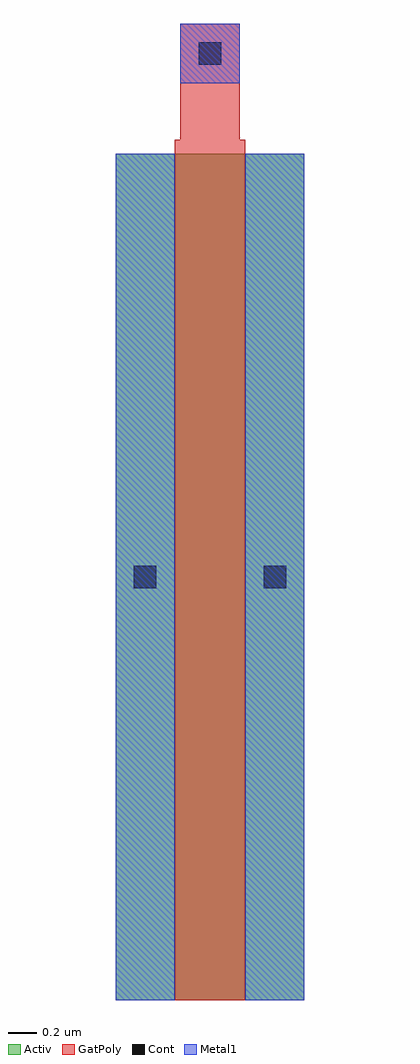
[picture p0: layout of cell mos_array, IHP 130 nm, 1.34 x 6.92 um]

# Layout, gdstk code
import gdstk
lib = gdstk.Library(unit=1e-6, precision=1e-09)
def R(c, l, rs):  # rectangles x0, y0, x1, y1
    for r in rs: c.add(gdstk.rectangle(r[:2], r[2:], *l))
Activ = (1, 0)
GatPoly = (5, 0)
Cont = (6, 0)
Metal1 = (8, 0)

mos_array = lib.new_cell('mos_array')
R(mos_array, Activ, [(0,0,1.34,6)])
R(mos_array, GatPoly, [(0.42,0,0.92,6), (0.42,6,0.92,6.1), (0.46,6.1,0.88,6.92)])
R(mos_array, Cont, [(0.13,2.92,0.29,3.08), (1.05,2.92,1.21,3.08), (0.59,6.63,0.75,6.79)])
R(mos_array, Metal1, [(0,0,0.42,6), (0.92,0,1.34,6), (0.46,6.5,0.88,6.92)])

lib.write_gds('mos_array.gds')
